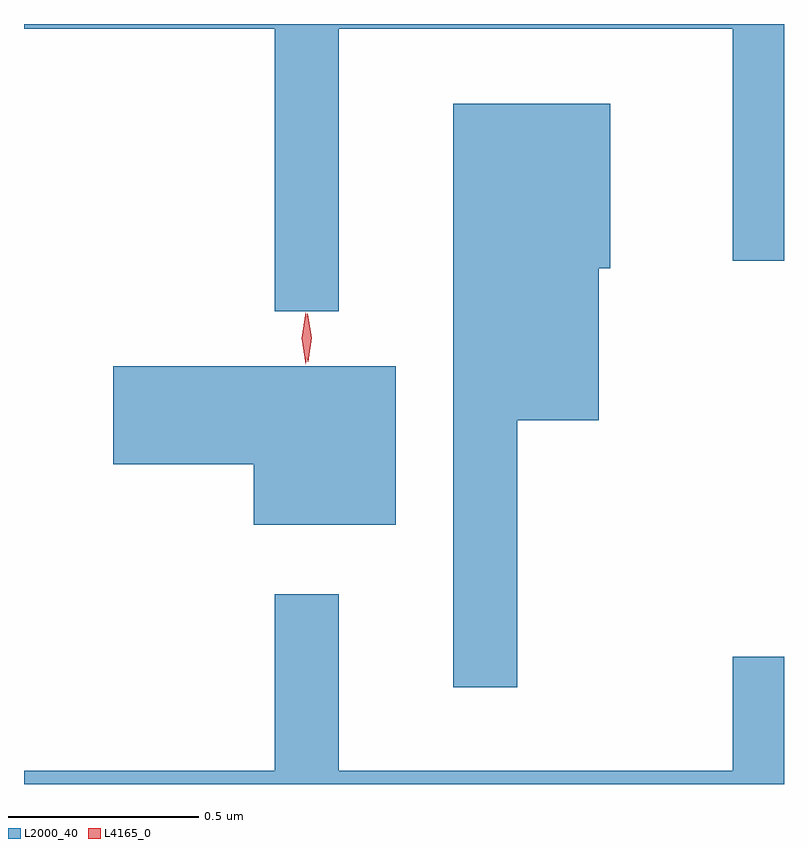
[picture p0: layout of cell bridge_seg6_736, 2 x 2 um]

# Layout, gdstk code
import gdstk
lib = gdstk.Library(unit=1e-6, precision=1e-09)
def P(c, l, *ps):  # polygons
    for p in ps: c.add(gdstk.Polygon(p, *l))
L2000_40 = (2000, 40)
L4165_0 = (4165, 0)

bridge_seg6_736 = lib.new_cell('bridge_seg6_736')
P(bridge_seg6_736, L2000_40, [(214.039,1536.716),(215.076,1536.716),(215.076,1536.106),(215.211,1536.106),(215.211,1536.729),(213.211,1536.729),(213.211,1536.716),(213.871,1536.716),(213.871,1535.973),(214.039,1535.973)],
  [(214.509,1535.686),(214.724,1535.686),(214.724,1536.086),(214.754,1536.086),(214.754,1536.519),(214.341,1536.519),(214.341,1534.983),(214.509,1534.983)],
  [(214.189,1535.829),(213.446,1535.829),(213.446,1535.571),(213.816,1535.571),(213.816,1535.411),(214.189,1535.411)],
  [(215.211,1535.064),(215.076,1535.064),(215.076,1534.764),(214.039,1534.764),(214.039,1535.228),(213.871,1535.228),(213.871,1534.764),(213.211,1534.764),(213.211,1534.729),(215.211,1534.729)])
P(bridge_seg6_736, L4165_0, [(213.958,1535.84),(213.958,1535.84),(213.948,1535.904),(213.957,1535.966),(213.958,1535.967),(213.958,1535.966),(213.968,1535.904),(213.959,1535.84)],
  [(213.952,1535.834),(213.952,1535.834),(213.942,1535.902),(213.952,1535.97),(213.952,1535.97),(213.953,1535.97),(213.962,1535.902),(213.953,1535.834)])

lib.write_gds('bridge_seg6_736.gds')
